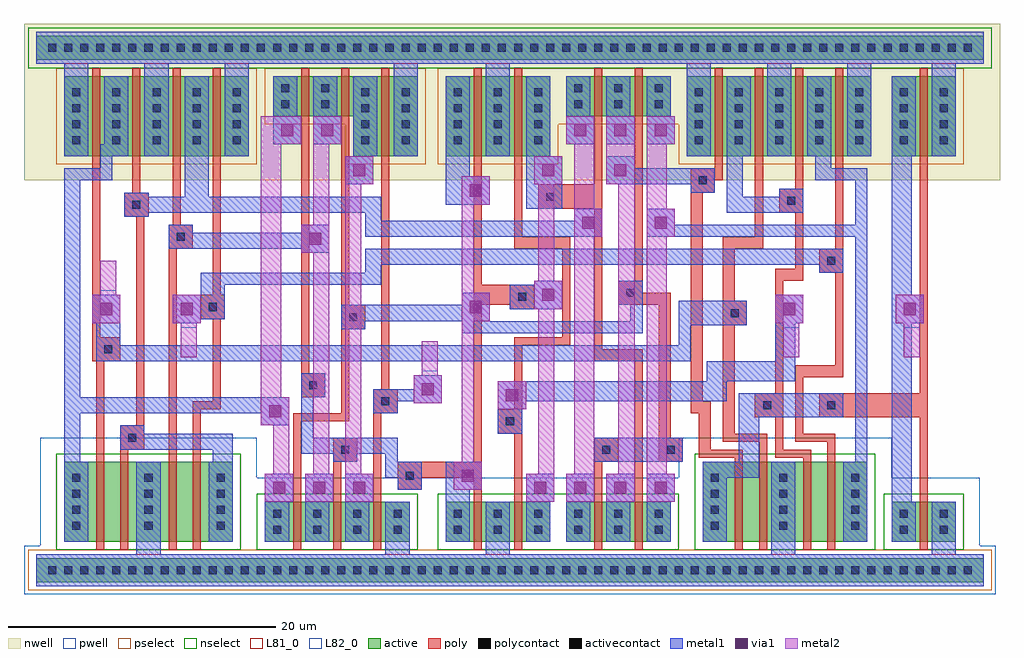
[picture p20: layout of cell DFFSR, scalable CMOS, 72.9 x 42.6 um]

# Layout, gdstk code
import gdstk
lib = gdstk.Library(unit=1e-6, precision=1e-09)
def R(c, l, rs):  # rectangles x0, y0, x1, y1
    for r in rs: c.add(gdstk.rectangle(r[:2], r[2:], *l))
def A(c, l, x, y, w, h, nx, ny, dx, dy):  # array of equal rectangles
    R(c, l, [(x+i*dx, y+j*dy, x+i*dx+w, y+j*dy+h) for i in range(nx) for j in range(ny)])
pwell = (41, 0)
nwell = (42, 0)
active = (43, 0)
pselect = (44, 0)
nselect = (45, 0)
poly = (46, 0)
polycontact = (47, 0)
activecontact = (48, 0)
metal1 = (49, 0)
via1 = (50, 0)
metal2 = (51, 0)
L81_0 = (81, 0)
L82_0 = (82, 0)

dffsr = lib.new_cell('DFFSR')
R(dffsr, pwell, [(-1.8,-1.8,70.8,1.8), (-0.6,1.8,69.6,6.9), (-0.6,6.9,15.6,9.9), (47.1,6.9,63,9.9)])
R(dffsr, nwell, [(-1.8,29.1,71.1,40.8)])
R(dffsr, active, [(-0.9,-0.9,69.9,0.9), (1.2,2.1,13.8,8.1), (16.2,2.1,27,5.1), (29.7,2.1,37.5,5.1), (38.7,2.1,46.5,5.1), (48.9,2.1,61.2,8.1), (63,2.1,67.8,5.1), (1.2,30.9,15,36.9), (22.8,30.9,27.6,33.9), (29.7,30.9,37.5,36.9), (47.7,30.9,61.5,36.9), (63,30.9,67.8,36.9), (16.8,33.9,27.6,36.9), (38.7,33.9,46.5,36.9), (-0.9,38.1,69.9,39.9)])
R(dffsr, pselect, [(-1.5,-1.5,70.5,1.5), (0.6,30.3,15.6,37.5), (22.2,30.3,28.2,33.3), (29.1,30.3,38.1,33.3), (47.1,30.3,68.4,33.3), (16.2,33.3,28.2,37.5), (29.1,33.3,68.4,37.5)])
R(dffsr, nselect, [(0.6,1.5,14.4,8.7), (15.6,1.5,27.6,5.7), (29.1,1.5,47.1,5.7), (48.3,1.5,61.8,8.7), (62.4,1.5,68.4,5.7), (-1.5,37.5,70.5,40.5)])
R(dffsr, poly, [(3.6,1.5,4.2,15.6), (5.4,1.5,6,9), (9,1.5,9.6,24), (10.8,1.5,11.4,12), (18.3,1.5,18.9,11.1), (21.3,1.5,21.9,8.1), (24.3,1.5,24.9,11.7), (31.8,1.5,32.4,6.9), (34.8,1.5,35.4,10.2), (40.8,1.5,41.4,8.1), (43.8,1.5,44.4,15.6), (51.3,1.5,51.9,8.4), (53.1,1.5,53.7,9.6), (56.4,1.5,57,8.4), (58.2,1.5,58.8,9.6), (65.1,1.5,65.7,11.4), (26.1,6,27.9,6.9), (26.1,6.9,32.4,8.1), (21.3,8.1,23.1,9.9), (31.8,8.1,32.4,19.8), (40.8,8.1,42.6,9.9), (45.6,8.1,47.4,9.9), (48.6,8.4,51.9,9), (54.3,8.4,57,9), (5.4,9,7.2,10.8), (48.6,9,49.5,11.7), (54.3,9,54.9,11.4), (50.4,9.6,53.7,10.2), (55.8,9.6,58.8,10.2), (45.6,9.9,46.5,19.8), (33.6,10.2,35.4,12), (50.4,10.2,51.3,18.3), (55.8,10.2,56.4,14.4), (6.6,10.8,7.2,26.4), (18.3,11.1,22.5,11.7), (52.8,11.4,54.9,13.2), (57.6,11.4,65.7,13.2), (21.9,11.7,22.5,18), (24.3,11.7,26.1,13.5), (48,11.7,49.5,12.6), (10.8,12,12.9,12.6), (34.8,12,35.4,16.8), (12.3,12.6,12.9,18.75), (48,12.6,48.9,28.2), (18.9,12.9,20.7,14.7), (54.3,13.2,54.9,21.6), (65.1,13.2,65.7,37.5), (24.9,13.5,25.5,37.5), (55.8,14.4,59.4,15.3), (18.9,14.7,19.5,37.5), (58.8,15.3,59.4,22.2), (3.3,15.6,5.4,17.4), (40.8,15.6,44.4,16.5), (40.8,16.5,41.4,27), (34.8,16.8,39,17.4), (3.3,17.4,3.9,37.5), (38.4,17.4,39,24), (21.9,18,23.7,19.8), (50.4,18.3,52.2,20.1), (11.4,18.75,13.2,20.55), (34.5,19.5,36.3,19.8), (21.9,19.8,22.5,37.5), (31.8,19.8,36.3,21.3), (42.6,19.8,46.5,20.7), (50.4,20.1,51.3,24), (12.3,20.55,12.9,37.5), (42.6,20.7,44.4,21.6), (31.8,21.3,32.4,37.5), (43.8,21.6,44.4,37.5), (54.3,21.6,56.4,22.5), (57.6,22.2,59.4,24), (55.8,22.5,56.4,26.7), (9,24,10.8,25.8), (34.8,24,39,24.9), (50.4,24,53.4,24.9), (58.8,24,59.4,37.5), (34.8,24.9,35.4,37.5), (52.8,24.9,53.4,37.5), (9.3,25.8,9.9,37.5), (5.7,26.4,7.5,28.2), (54.6,26.7,56.4,28.5), (36.6,27,41.4,28.8), (6.3,28.2,6.9,37.5), (48,28.2,49.8,29.1), (55.8,28.5,56.4,37.5), (40.8,28.8,41.4,37.5), (48,29.1,50.4,30), (49.8,30,50.4,37.5)])
R(dffsr, polycontact, [(26.7,6.75,27.3,7.35), (21.9,8.7,22.5,9.3), (41.4,8.7,42,9.3), (46.2,8.7,46.8,9.3), (6,9.6,6.6,10.2), (34.2,10.8,34.8,11.4), (53.4,12,54,12.6), (58.2,12,58.8,12.6), (24.9,12.3,25.5,12.9), (19.5,13.5,20.1,14.1), (4.2,16.2,4.8,16.8), (22.5,18.6,23.1,19.2), (51,18.9,51.6,19.5), (12,19.35,12.6,19.95), (35.1,20.1,35.7,20.7), (43.2,20.4,43.8,21), (58.2,22.8,58.8,23.4), (9.6,24.6,10.2,25.2), (6.3,27,6.9,27.6), (55.2,27.3,55.8,27.9), (37.2,27.6,37.8,28.2), (48.6,28.8,49.2,29.4)])
A(dffsr, activecontact, 0, -0.3, 0.6, 0.6, 58, 2, 1.2, 39)
A(dffsr, activecontact, 16.8, 2.7, 0.6, 0.6, 4, 2, 3, 1.2)
A(dffsr, activecontact, 30.3, 2.7, 0.6, 0.6, 6, 2, 3, 1.2)
A(dffsr, activecontact, 1.8, 3, 0.6, 0.6, 3, 4, 5.4, 1.2)
A(dffsr, activecontact, 49.5, 3, 0.6, 0.6, 1, 4, 0, 1.2)
A(dffsr, activecontact, 54.6, 3, 0.6, 0.6, 1, 4, 0, 1.2)
A(dffsr, activecontact, 60, 3, 0.6, 0.6, 1, 4, 0, 1.2)
A(dffsr, activecontact, 1.8, 31.8, 0.6, 0.6, 5, 4, 3, 1.2)
A(dffsr, activecontact, 23.4, 31.8, 0.6, 0.6, 1, 4, 0, 1.2)
A(dffsr, activecontact, 26.4, 31.8, 0.6, 0.6, 1, 4, 0, 1.2)
A(dffsr, activecontact, 30.3, 31.8, 0.6, 0.6, 3, 4, 3, 1.2)
A(dffsr, activecontact, 48.3, 31.8, 0.6, 0.6, 5, 4, 3, 1.2)
A(dffsr, activecontact, 63.6, 31.8, 0.6, 0.6, 1, 4, 0, 1.2)
A(dffsr, activecontact, 66.6, 31.8, 0.6, 0.6, 1, 4, 0, 1.2)
A(dffsr, activecontact, 39.3, 34.5, 0.6, 0.6, 3, 2, 3, 1.2)
R(dffsr, activecontact, [(63.6,2.7,64.2,3.3), (66.6,2.7,67.2,3.3), (63.6,3.9,64.2,4.5), (66.6,3.9,67.2,4.5), (17.4,34.5,18,35.1), (20.4,34.5,21,35.1), (17.4,35.7,18,36.3), (20.4,35.7,21,36.3)])
A(dffsr, metal1, 16.2, 2.1, 1.8, 3, 3, 1, 3, 0)
A(dffsr, metal1, 35.7, 2.1, 1.8, 3, 4, 1, 3, 0)
A(dffsr, metal1, 16.2, 5.1, 2.1, 2.1, 3, 1, 3, 0)
A(dffsr, metal1, 35.7, 5.1, 2.1, 2.1, 4, 1, 3, 0)
A(dffsr, metal1, 1.2, 30.9, 1.8, 6.9, 3, 1, 6, 0)
A(dffsr, metal1, 47.7, 30.9, 1.8, 6.9, 3, 1, 6, 0)
A(dffsr, metal1, 38.7, 31.8, 2.1, 2.1, 3, 1, 3, 0)
A(dffsr, metal1, 38.7, 33.9, 1.8, 3, 3, 1, 3, 0)
R(dffsr, metal1, [(-0.9,-1.2,69.9,1.2), (6.6,1.2,8.4,8.1), (25.2,1.2,27,5.1), (32.7,1.2,34.5,5.1), (54,1.2,55.8,8.1), (66,1.2,67.8,5.1), (1.2,2.1,3,8.1), (12,2.1,13.8,8.1), (29.7,2.1,31.5,6), (48.9,2.1,50.7,6.9), (59.4,2.1,61.2,8.1), (63,2.1,64.8,5.1), (63,5.1,64.5,18.45), (26.1,6,27.9,6.9), (29.7,6,32.4,8.1), (25.2,6.9,27.9,8.1), (48.9,6.9,53.1,8.1), (1.2,8.1,2.4,11.7), (12.3,8.1,13.8,9), (21.3,8.1,23.1,8.7), (25.2,8.1,26.1,8.7), (40.8,8.1,47.4,9.9), (51.6,8.1,53.1,11.4), (60.3,8.1,61.2,24.9), (18.9,8.7,26.1,9.9), (5.4,9,13.8,10.2), (18.9,9.9,19.8,12.9), (5.4,10.2,7.2,10.8), (33.6,10.2,35.4,12), (15.9,10.8,18,11.7), (51.6,11.4,59.4,13.2), (1.2,11.7,18,12.9), (24.3,11.7,26.1,12.6), (33.6,12,35.7,12.6), (27.3,12.45,29.4,12.6), (24.3,12.6,29.4,13.5), (33.6,12.6,50.7,14.1), (1.2,12.9,2.4,29.1), (18.9,12.9,20.7,14.7), (27.3,13.5,29.4,14.55), (49.2,14.1,55.8,15.6), (3.6,15.6,48,16.8), (54.3,15.6,55.8,18.45), (3.6,16.8,5.4,18.45), (47.1,16.8,48,18.3), (30.9,17.7,44.4,18.6), (21.9,18,23.7,18.6), (47.1,18.3,52.2,20.1), (3.3,18.45,5.4,20.55), (9.3,18.45,11.4,18.75), (54.3,18.45,56.4,20.55), (63,18.45,65.4,20.55), (21.9,18.6,33,19.8), (43.5,18.6,44.4,19.8), (9.3,18.75,13.2,20.55), (34.5,19.5,38.4,21.3), (30.9,19.8,33,20.7), (42.6,19.8,44.4,21.6), (11.4,20.55,13.2,21.3), (63,20.55,64.5,30.9), (11.4,21.3,24.9,22.2), (36.3,21.3,38.4,21.6), (23.7,22.2,24.9,22.8), (57.6,22.2,59.4,22.8), (23.7,22.8,59.4,24), (18.9,23.7,21,24), (9,24,21,25.2), (23.7,24.9,41.4,26.1), (44.7,24.9,61.2,25.8), (9,25.2,10.8,25.8), (18.9,25.2,21,25.8), (44.7,25.8,46.8,27), (60.3,25.8,61.2,29.1), (23.7,26.1,24.9,26.7), (39.3,26.1,41.4,27), (5.7,26.4,7.5,26.7), (5.7,26.7,24.9,27.9), (50.7,26.7,56.4,27.9), (35.7,27,38.4,30.9), (29.7,27.3,33,29.4), (5.7,27.9,7.5,28.2), (10.2,27.9,12,36.9), (50.7,27.9,51.9,30.9), (54.6,27.9,56.4,28.5), (48,28.2,49.8,28.8), (22.2,28.8,24.3,30.9), (41.7,28.8,49.8,30), (1.2,29.1,4.8,30), (57.3,29.1,61.2,30), (29.7,29.4,31.5,36.9), (3.9,30,4.8,30.9), (41.7,30,43.8,30.9), (57.3,30,58.5,30.9), (3.9,30.9,6,31.8), (22.8,30.9,24.6,36.9), (25.8,30.9,27.6,37.8), (32.7,30.9,34.5,37.8), (35.7,30.9,37.5,36.9), (50.7,30.9,52.5,36.9), (56.7,30.9,58.5,36.9), (63,30.9,64.8,36.9), (66,30.9,67.8,37.8), (4.2,31.8,6,36.9), (16.8,31.8,18.9,33.9), (19.8,31.8,21.9,33.9), (16.8,33.9,18.6,36.9), (19.8,33.9,21.6,36.9), (-0.9,37.8,69.9,40.2)])
A(dffsr, via1, 16.8, 5.7, 0.9, 0.9, 3, 1, 3, 0)
A(dffsr, via1, 36.3, 5.7, 0.9, 0.9, 4, 1, 3, 0)
A(dffsr, via1, 39.3, 32.4, 0.9, 0.9, 3, 1, 3, 0)
R(dffsr, via1, [(30.9,6.6,31.8,7.5), (16.5,11.4,17.4,12.3), (34.2,12.6,35.1,13.5), (27.9,13.05,28.8,13.95), (3.9,19.05,4.8,19.95), (9.9,19.05,10.8,19.95), (54.9,19.05,55.8,19.95), (63.9,19.05,64.8,19.95), (31.5,19.2,32.4,20.1), (36.9,20.1,37.8,21), (19.5,24.3,20.4,25.2), (39.9,25.5,40.8,26.4), (45.3,25.5,46.2,26.4), (31.5,27.9,32.4,28.8), (22.8,29.4,23.7,30.3), (36.9,29.4,37.8,30.3), (42.3,29.4,43.2,30.3), (17.4,32.4,18.3,33.3), (20.4,32.4,21.3,33.3)])
A(dffsr, metal2, 16.2, 5.1, 2.1, 2.1, 3, 1, 3, 0)
A(dffsr, metal2, 35.7, 5.1, 2.1, 2.1, 4, 1, 3, 0)
R(dffsr, metal2, [(30.3,6,32.4,8.1), (16.8,7.2,18,10.8), (19.8,7.2,21,23.7), (22.2,7.2,23.4,28.8), (36.6,7.2,37.8,19.5), (39.3,7.2,40.8,24.9), (42.6,7.2,43.8,28.8), (44.7,7.2,46.2,24.9), (30.9,8.1,31.8,18.6), (15.9,10.8,18,12.9), (33.6,12,35.7,14.1), (27.3,12.45,29.4,14.55), (15.9,12.9,17.4,31.8), (27.9,14.55,29.1,17.1), (9.9,15.9,11.1,18.45), (54.9,15.9,56.1,18.45), (63.9,15.9,65.1,18.45), (3.3,18.45,5.4,20.55), (9.3,18.45,11.4,20.55), (54.3,18.45,56.4,20.55), (63.3,18.45,65.4,20.55), (30.9,18.6,33,20.7), (36.3,19.5,38.4,21.6), (3.9,20.55,5.1,23.1), (30.9,20.7,31.8,27.3), (36.6,21.6,37.8,28.8), (18.9,23.7,21,25.8), (39.3,24.9,41.4,27), (44.7,24.9,46.8,27), (19.8,25.8,21,31.8), (39.3,27,40.8,31.8), (44.7,27,46.2,31.8), (30.9,27.3,33,29.4), (22.2,28.8,24.3,30.9), (36.3,28.8,38.4,30.9), (41.7,28.8,43.8,33.9), (15.9,31.8,18.9,33.9), (19.8,31.8,21.9,33.9), (38.7,31.8,40.8,33.9), (44.7,31.8,46.8,33.9)])
R(dffsr, L81_0, [(-0.9,-1.2,69.9,1.2), (-0.9,37.8,69.9,40.2)])
R(dffsr, L82_0, [(27.9,14.85,29.1,17.1), (9.9,15.9,11.1,18.15), (54.9,15.9,56.1,18.15), (63.9,15.9,65.1,18.15), (3.9,20.85,5.1,23.1)])

lib.write_gds('DFFSR.gds')
